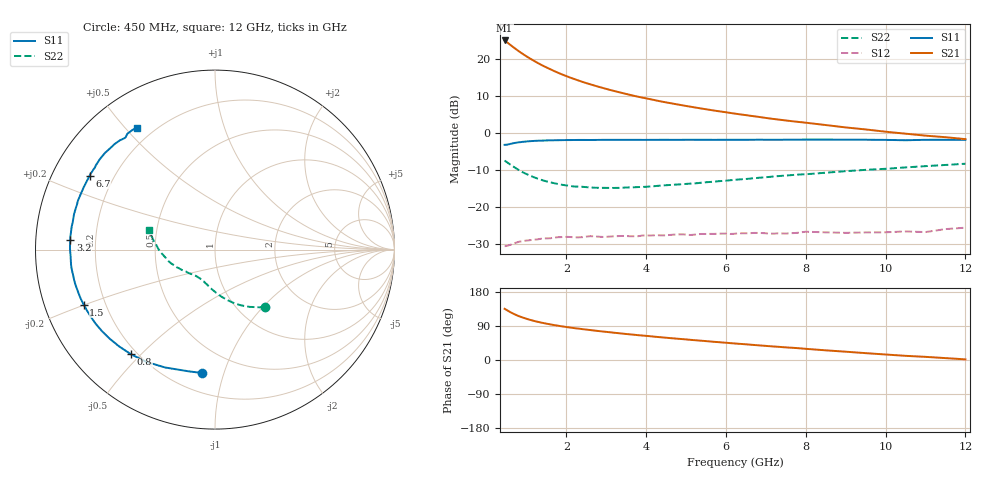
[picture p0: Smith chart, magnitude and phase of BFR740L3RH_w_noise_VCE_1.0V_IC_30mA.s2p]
! (c) 2012  Infineon Technologies AG, Munich
! Infineon Technologies  Discrete & RF Semiconductors
! BFR740L3RH
! VCE =  1.0 V,  IC =  30 mA
! Common Emitter S-Parameters:  May 2012
# GHz  S  MA  R  50
!  f  S11  S21  S12  S22
! GHz  MAG  ANG  MAG  ANG  MAG  ANG  MAG  ANG
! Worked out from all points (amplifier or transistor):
!   85 points, 450 MHz to 12 GHz, reference 50 ohm
!   highest |S21| = 25.1 dB at 450 MHz (marker M1)
!   |S21| within 3 dB of that: start of sweep to 817 MHz
!   unconditionally stable (mu >= 1): 2.889 GHz to end of sweep
!   at 1.8 GHz: K = 0.65, MSG = 22.3 dB, |S12| = -28.2 dB
!   at 4.6 GHz: K = 1.52, MAG = 13.6 dB, |S12| = -27.6 dB
!   at 12 GHz: K = 3.55, MAG = 3.6 dB, |S12| = -25.6 dB
!   lowest NFmin = 1.19 dB at 450 MHz
!   S11 on the Smith chart (normalised r, x): 450 MHz: 0.32, -0.85; 800 MHz: 0.18, -0.47; 1.5 GHz: 0.12, -0.20; 3.2 GHz: 0.11, +0.03; 6.7 GHz: 0.11, +0.27; 12 GHz: 0.14, +0.54
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0.45  0.6913 -96.0  17.97 135.1  0.0293 40.2  0.4236 -49.2
0.6  0.7132 -112.9  15.55 125.9  0.0306 36.8  0.3718 -59.1
0.7  0.7333 -121.5  14.15 120.6  0.0322 33.1  0.3423 -65.1
0.8  0.7476 -128.7  12.91 116.0  0.0335 31.0  0.3165 -70.4
0.9  0.7591 -134.7  11.85 112.2  0.0343 28.9  0.2951 -74.9
1  0.7686 -139.8  10.93 108.7  0.0349 26.4  0.2778 -78.8
1.1  0.7765 -144.2  10.13 105.6  0.0354 24.3  0.2629 -82.6
1.3  0.7867 -151.5  8.783 100.3  0.0364 21.7  0.2387 -89.1
1.5  0.7934 -157.3  7.74 95.9  0.0374 20.5  0.2213 -94.6
1.7  0.7981 -162.1  6.892 92.0  0.0384 19.4  0.2086 -99.3
1.9  0.8019 -166.1  6.196 88.6  0.0389 18.6  0.1985 -103.4
2.4  0.8062 -174.1  4.936 81.5  0.0388 16.7  0.1868 -112.5
2.8  0.8071 -179.3  4.245 76.5  0.0394 16.9  0.181 -118.2
3.2  0.8084 176.2  3.707 71.9  0.0399 17.0  0.1804 -123.8
3.8  0.8086 170.6  3.1 65.5  0.04 17.8  0.1852 -130.9
4.3  0.8092 166.5  2.728 60.6  0.0412 17.9  0.1927 -136.0
5.2  0.8102 159.5  2.231 52.4  0.0419 19.3  0.2076 -145.1
6.3  0.8097 152.1  1.808 42.9  0.0437 19.5  0.2344 -155.2
6.7  0.811 149.4  1.688 39.7  0.0443 18.8  0.2443 -158.7
8.5  0.8161 138.7  1.283 25.5  0.0451 20.9  0.29 -173.9
10.5  0.7988 128.7  0.98 11.0  0.0464 27.2  0.342 172.5
12  0.8082 122.7  0.827 1.7  0.0522 34.0  0.3837 163.5
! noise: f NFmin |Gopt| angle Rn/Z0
0.45  1.19  0.09  178  0.12
0.9  1.19  0.1  173  0.11
1.5  1.21  0.11  167  0.11
1.9  1.22  0.12  164  0.11
2.4  1.24  0.14  164  0.11
3.5  1.3  0.16  166  0.11
5.5  1.44  0.22  170  0.1
8  1.66  0.29  -172  0.11
10  1.85  0.31  -156  0.13
12  2.05  0.37  -136  0.19
